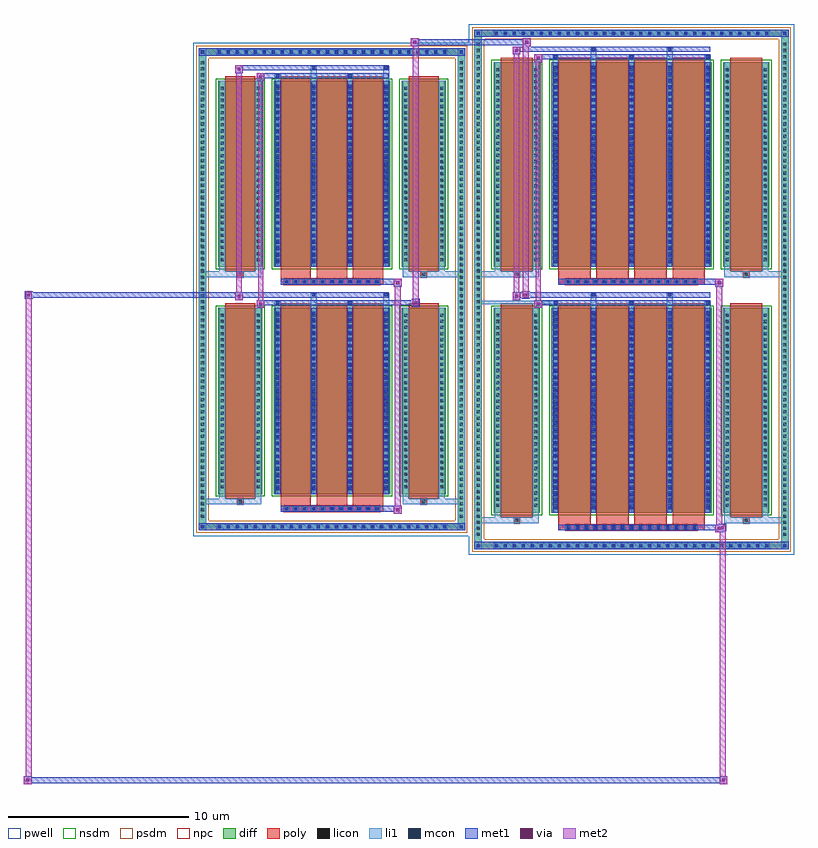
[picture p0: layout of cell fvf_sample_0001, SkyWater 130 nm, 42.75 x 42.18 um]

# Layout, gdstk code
import gdstk
lib = gdstk.Library(unit=1e-6, precision=5e-09)
def R(c, l, rs):  # rectangles x0, y0, x1, y1
    for r in rs: c.add(gdstk.rectangle(r[:2], r[2:], *l))
def A(c, l, x, y, w, h, nx, ny, dx, dy):  # array of equal rectangles
    R(c, l, [(x+i*dx, y+j*dy, x+i*dx+w, y+j*dy+h) for i in range(nx) for j in range(ny)])
def P(c, l, *ps):  # polygons
    for p in ps: c.add(gdstk.Polygon(p, *l))
pwell = (64, 44)
diff = (65, 20)
poly = (66, 20)
licon = (66, 44)
li1 = (67, 20)
mcon = (67, 44)
met1 = (68, 20)
via = (68, 44)
met2 = (69, 20)
nsdm = (93, 44)
psdm = (94, 20)
npc = (95, 20)

fvf_sample_0001 = lib.new_cell('fvf_sample_0001')
R(fvf_sample_0001, pwell, [(7.6,-14.73,25.65,14.73), (-7.7,-13.69,7.7,13.69)])
A(fvf_sample_0001, diff, 8.92, -14.42, 0.41, 0.41, 31, 2, 0.5, 28.43)
A(fvf_sample_0001, diff, 7.91, -13.805, 0.41, 0.41, 1, 81, 0, 0.34)
A(fvf_sample_0001, diff, 24.93, -13.805, 0.41, 0.41, 1, 81, 0, 0.34)
A(fvf_sample_0001, diff, -6.455, -13.38, 0.41, 0.41, 26, 2, 0.5, 26.35)
A(fvf_sample_0001, diff, -7.39, -12.785, 0.41, 0.41, 1, 75, 0, 0.34)
A(fvf_sample_0001, diff, 6.98, -12.785, 0.41, 0.41, 1, 75, 0, 0.34)
R(fvf_sample_0001, diff, [(8.92,-14.42,24.33,-14.01), (7.91,-13.805,8.32,13.805), (24.93,-13.805,25.34,13.805), (-6.455,-13.38,6.455,-12.97), (-7.39,-12.785,-6.98,12.785), (6.98,-12.785,7.39,12.785), (8.98,-12.395,11.54,-1.025), (12.18,-12.395,21.07,-1.025), (21.71,-12.395,24.27,-1.025), (-6.315,-11.355,-3.865,-1.025), (-3.225,-11.355,3.225,-1.025), (3.865,-11.355,6.315,-1.025), (-6.315,1.245,-3.865,11.575), (-3.225,1.245,3.225,11.575), (3.865,1.245,6.315,11.575), (8.98,1.245,11.54,12.615), (12.18,1.245,21.07,12.615), (21.71,1.245,24.27,12.615), (-6.455,12.97,6.455,13.38), (8.92,14.01,24.33,14.42)])
P(fvf_sample_0001, diff, [(7.39,13.38),(-7.39,13.38),(-7.39,-12.97),(-6.98,-12.97),(-6.98,12.97),(6.98,12.97),(6.98,-12.97),(-6.98,-12.97),(-7.39,-12.97),(-7.39,-13.38),(7.39,-13.38)],
  [(25.34,14.42),(7.91,14.42),(7.91,-14.01),(8.32,-14.01),(8.32,14.01),(24.93,14.01),(24.93,-14.01),(8.32,-14.01),(7.91,-14.01),(7.91,-14.42),(25.34,-14.42)])
A(fvf_sample_0001, poly, 12.96, -13.38, 0.33, 0.33, 15, 2, 0.5, 13.64)
A(fvf_sample_0001, poly, 12.57, -13.05, 1.78, 0.405, 4, 2, 2.11, 13.64)
A(fvf_sample_0001, poly, 12.57, -12.645, 1.78, 11.87, 4, 2, 2.11, 13.64)
A(fvf_sample_0001, poly, -2.665, -12.34, 0.33, 0.33, 11, 2, 0.5, 12.6)
A(fvf_sample_0001, poly, -2.835, -12.01, 1.67, 0.405, 3, 2, 2, 12.6)
A(fvf_sample_0001, poly, -2.835, -11.605, 1.67, 10.83, 3, 2, 2, 12.6)
R(fvf_sample_0001, poly, [(12.57,-13.38,20.68,-13.05), (10.095,-12.975,10.425,-12.645), (10.095,-12.975,10.425,-12.645), (22.825,-12.975,23.155,-12.645), (22.825,-12.975,23.155,-12.645), (9.37,-12.645,11.15,-0.775), (22.1,-12.645,23.88,-0.775), (-2.835,-12.34,2.835,-12.01), (-5.255,-11.935,-4.925,-11.605), (-5.255,-11.935,-4.925,-11.605), (4.925,-11.935,5.255,-11.605), (4.925,-11.935,5.255,-11.605), (-5.925,-11.605,-4.255,-0.775), (4.255,-11.605,5.925,-0.775), (-2.835,0.26,2.835,0.59), (12.57,0.26,20.68,0.59), (-5.255,0.665,-4.925,0.995), (-5.255,0.665,-4.925,0.995), (4.925,0.665,5.255,0.995), (4.925,0.665,5.255,0.995), (10.095,0.665,10.425,0.995), (10.095,0.665,10.425,0.995), (22.825,0.665,23.155,0.995), (22.825,0.665,23.155,0.995), (-5.925,0.995,-4.255,11.825), (4.255,0.995,5.925,11.825), (9.37,0.995,11.15,12.865), (22.1,0.995,23.88,12.865)])
A(fvf_sample_0001, licon, 9.04, -14.3, 0.17, 0.17, 31, 2, 0.5, 28.43)
A(fvf_sample_0001, licon, 8.03, -13.685, 0.17, 0.17, 1, 81, 0, 0.34)
A(fvf_sample_0001, licon, 25.05, -13.685, 0.17, 0.17, 1, 81, 0, 0.34)
A(fvf_sample_0001, licon, 13.04, -13.3, 0.17, 0.17, 15, 2, 0.5, 13.64)
A(fvf_sample_0001, licon, -6.335, -13.26, 0.17, 0.17, 26, 2, 0.5, 26.35)
A(fvf_sample_0001, licon, -7.27, -12.665, 0.17, 0.17, 1, 75, 0, 0.34)
A(fvf_sample_0001, licon, 7.1, -12.665, 0.17, 0.17, 1, 75, 0, 0.34)
A(fvf_sample_0001, licon, -2.585, -12.26, 0.17, 0.17, 11, 2, 0.5, 12.6)
A(fvf_sample_0001, licon, 9.12, -12.065, 0.17, 0.17, 1, 32, 0, 0.34)
A(fvf_sample_0001, licon, 11.23, -12.065, 0.17, 0.17, 1, 32, 0, 0.34)
A(fvf_sample_0001, licon, 12.32, -12.065, 0.17, 0.17, 5, 32, 2.11, 0.34)
A(fvf_sample_0001, licon, 21.85, -12.065, 0.17, 0.17, 1, 32, 0, 0.34)
A(fvf_sample_0001, licon, 23.96, -12.065, 0.17, 0.17, 1, 32, 0, 0.34)
A(fvf_sample_0001, licon, -6.175, -11.035, 0.17, 0.17, 1, 29, 0, 0.34)
A(fvf_sample_0001, licon, -4.175, -11.035, 0.17, 0.17, 1, 29, 0, 0.34)
A(fvf_sample_0001, licon, -3.085, -11.035, 0.17, 0.17, 4, 29, 2, 0.34)
A(fvf_sample_0001, licon, 4.005, -11.035, 0.17, 0.17, 1, 29, 0, 0.34)
A(fvf_sample_0001, licon, 6.005, -11.035, 0.17, 0.17, 1, 29, 0, 0.34)
A(fvf_sample_0001, licon, -6.175, 1.565, 0.17, 0.17, 1, 29, 0, 0.34)
A(fvf_sample_0001, licon, -4.175, 1.565, 0.17, 0.17, 1, 29, 0, 0.34)
A(fvf_sample_0001, licon, -3.085, 1.565, 0.17, 0.17, 4, 29, 2, 0.34)
A(fvf_sample_0001, licon, 4.005, 1.565, 0.17, 0.17, 1, 29, 0, 0.34)
A(fvf_sample_0001, licon, 6.005, 1.565, 0.17, 0.17, 1, 29, 0, 0.34)
A(fvf_sample_0001, licon, 9.12, 1.575, 0.17, 0.17, 1, 32, 0, 0.34)
A(fvf_sample_0001, licon, 11.23, 1.575, 0.17, 0.17, 1, 32, 0, 0.34)
A(fvf_sample_0001, licon, 12.32, 1.575, 0.17, 0.17, 5, 32, 2.11, 0.34)
A(fvf_sample_0001, licon, 21.85, 1.575, 0.17, 0.17, 1, 32, 0, 0.34)
A(fvf_sample_0001, licon, 23.96, 1.575, 0.17, 0.17, 1, 32, 0, 0.34)
R(fvf_sample_0001, licon, [(10.175,-12.895,10.345,-12.725), (22.905,-12.895,23.075,-12.725), (-5.175,-11.855,-5.005,-11.685), (5.005,-11.855,5.175,-11.685), (-5.175,0.745,-5.005,0.915), (5.005,0.745,5.175,0.915), (10.175,0.745,10.345,0.915), (22.905,0.745,23.075,0.915)])
A(fvf_sample_0001, li1, 8.96, -14.38, 0.33, 0.33, 31, 2, 0.5, 28.43)
A(fvf_sample_0001, li1, 7.95, -13.765, 0.33, 0.33, 1, 81, 0, 0.34)
A(fvf_sample_0001, li1, 24.97, -13.765, 0.33, 0.33, 1, 81, 0, 0.34)
A(fvf_sample_0001, li1, 12.96, -13.38, 0.33, 0.33, 15, 2, 0.5, 13.64)
A(fvf_sample_0001, li1, -6.415, -13.34, 0.33, 0.33, 26, 2, 0.5, 26.35)
A(fvf_sample_0001, li1, -7.35, -12.745, 0.33, 0.33, 1, 75, 0, 0.34)
A(fvf_sample_0001, li1, 7.02, -12.745, 0.33, 0.33, 1, 75, 0, 0.34)
A(fvf_sample_0001, li1, 12.24, -12.395, 0.33, 11.37, 5, 2, 2.11, 13.64)
A(fvf_sample_0001, li1, -2.665, -12.34, 0.33, 0.33, 11, 2, 0.5, 12.6)
A(fvf_sample_0001, li1, 12.32, -12.195, 0.17, 0.17, 5, 31, 2.11, 0.36)
A(fvf_sample_0001, li1, 12.32, -12.195, 0.17, 10.97, 5, 2, 2.11, 13.64)
A(fvf_sample_0001, li1, 9.04, -12.145, 0.33, 0.33, 1, 32, 0, 0.34)
A(fvf_sample_0001, li1, 11.15, -12.145, 0.33, 0.33, 1, 32, 0, 0.34)
A(fvf_sample_0001, li1, 12.24, -12.145, 0.33, 0.33, 5, 32, 2.11, 0.34)
A(fvf_sample_0001, li1, 21.77, -12.145, 0.33, 0.33, 1, 32, 0, 0.34)
A(fvf_sample_0001, li1, 23.88, -12.145, 0.33, 0.33, 1, 32, 0, 0.34)
A(fvf_sample_0001, li1, -3.165, -11.355, 0.33, 10.33, 4, 2, 2, 12.6)
A(fvf_sample_0001, li1, -3.085, -11.135, 0.17, 0.17, 4, 28, 2, 0.36)
A(fvf_sample_0001, li1, -3.085, -11.135, 0.17, 9.89, 4, 2, 2, 12.6)
A(fvf_sample_0001, li1, -6.255, -11.115, 0.33, 0.33, 1, 29, 0, 0.34)
A(fvf_sample_0001, li1, -4.255, -11.115, 0.33, 0.33, 1, 29, 0, 0.34)
A(fvf_sample_0001, li1, -3.165, -11.115, 0.33, 0.33, 4, 29, 2, 0.34)
A(fvf_sample_0001, li1, 3.925, -11.115, 0.33, 0.33, 1, 29, 0, 0.34)
A(fvf_sample_0001, li1, 5.925, -11.115, 0.33, 0.33, 1, 29, 0, 0.34)
A(fvf_sample_0001, li1, 12.24, -1.025, 0.33, 0.375, 3, 2, 4.22, 13.64)
A(fvf_sample_0001, li1, 12.32, -0.82, 0.17, 0.17, 3, 2, 4.22, 13.64)
A(fvf_sample_0001, li1, 12.32, 1.445, 0.17, 0.17, 5, 31, 2.11, 0.36)
A(fvf_sample_0001, li1, -3.085, 1.465, 0.17, 0.17, 4, 28, 2, 0.36)
A(fvf_sample_0001, li1, -6.255, 1.485, 0.33, 0.33, 1, 29, 0, 0.34)
A(fvf_sample_0001, li1, -4.255, 1.485, 0.33, 0.33, 1, 29, 0, 0.34)
A(fvf_sample_0001, li1, -3.165, 1.485, 0.33, 0.33, 4, 29, 2, 0.34)
A(fvf_sample_0001, li1, 3.925, 1.485, 0.33, 0.33, 1, 29, 0, 0.34)
A(fvf_sample_0001, li1, 5.925, 1.485, 0.33, 0.33, 1, 29, 0, 0.34)
A(fvf_sample_0001, li1, 9.04, 1.495, 0.33, 0.33, 1, 32, 0, 0.34)
A(fvf_sample_0001, li1, 11.15, 1.495, 0.33, 0.33, 1, 32, 0, 0.34)
A(fvf_sample_0001, li1, 12.24, 1.495, 0.33, 0.33, 5, 32, 2.11, 0.34)
A(fvf_sample_0001, li1, 21.77, 1.495, 0.33, 0.33, 1, 32, 0, 0.34)
A(fvf_sample_0001, li1, 23.88, 1.495, 0.33, 0.33, 1, 32, 0, 0.34)
R(fvf_sample_0001, li1, [(7.91,-14.42,8.32,-14.01), (24.93,-14.42,25.34,-14.01), (8.96,-14.38,24.29,-14.05), (8.03,-14.3,8.2,-14.13), (8.03,-14.3,8.2,-14.13), (25.05,-14.3,25.22,-14.13), (25.05,-14.3,25.22,-14.13), (7.91,-14.01,8.32,14.01), (24.93,-14.01,25.34,14.01), (-7.39,-13.38,-6.98,-12.97), (6.98,-13.38,7.39,-12.97), (-6.415,-13.34,6.415,-13.01), (-7.27,-13.26,-7.1,-13.09), (-7.27,-13.26,-7.1,-13.09), (7.1,-13.26,7.27,-13.09), (7.1,-13.26,7.27,-13.09), (7.91,-12.975,10.095,-12.645), (9.04,-12.975,9.37,-12.395), (9.04,-12.975,10.095,-12.645), (10.095,-12.975,10.425,-12.645), (10.425,-12.975,11.48,-12.645), (11.15,-12.975,11.48,-12.395), (21.77,-12.975,22.1,-12.395), (21.77,-12.975,22.825,-12.645), (22.825,-12.975,23.155,-12.645), (22.825,-12.975,25.34,-12.645), (23.155,-12.975,24.21,-12.645), (23.88,-12.975,24.21,-12.395), (-7.39,-12.97,-6.98,12.97), (6.98,-12.97,7.39,12.97), (9.04,-12.395,9.37,-1.025), (11.15,-12.395,11.48,-1.025), (21.77,-12.395,22.1,-1.025), (23.88,-12.395,24.21,-1.025), (-7.39,-11.935,-5.255,-11.605), (-6.255,-11.935,-5.255,-11.605), (-6.255,-11.935,-5.925,-11.355), (-5.255,-11.935,-4.925,-11.605), (-4.925,-11.935,-3.925,-11.605), (-4.255,-11.935,-3.925,-11.355), (3.925,-11.935,4.925,-11.605), (3.925,-11.935,4.255,-11.355), (4.925,-11.935,5.255,-11.605), (4.925,-11.935,7.39,-11.605), (5.255,-11.935,6.255,-11.605), (5.925,-11.935,6.255,-11.355), (-6.255,-11.355,-5.925,-1.025), (-4.255,-11.355,-3.925,-1.025), (3.925,-11.355,4.255,-1.025), (5.925,-11.355,6.255,-1.025), (-3.165,-1.025,-2.835,-0.65), (-1.165,-1.025,-0.835,-0.22), (0.835,-1.025,1.165,-0.65), (2.835,-1.025,3.165,-0.22), (14.35,-1.025,14.68,-0.22), (18.57,-1.025,18.9,-0.22), (12.26,-0.88,12.55,-0.59), (7.91,-0.835,12.26,-0.635), (-3.085,-0.82,-2.915,-0.65), (0.915,-0.82,1.085,-0.65), (12.32,-0.82,12.49,-0.65), (-1.085,-0.39,-0.915,-0.22), (2.915,-0.39,3.085,-0.22), (14.43,-0.39,14.6,-0.22), (18.65,-0.39,18.82,-0.22), (-7.39,0.665,-5.255,0.995), (-6.255,0.665,-5.255,0.995), (-6.255,0.665,-5.925,1.245), (-5.255,0.665,-4.925,0.995), (-4.925,0.665,-3.925,0.995), (-4.255,0.665,-3.925,1.245), (3.925,0.665,4.925,0.995), (3.925,0.665,4.255,1.245), (4.925,0.665,5.255,0.995), (4.925,0.665,7.39,0.995), (5.255,0.665,6.255,0.995), (5.925,0.665,6.255,1.245), (7.91,0.665,10.095,0.995), (9.04,0.665,9.37,1.245), (9.04,0.665,10.095,0.995), (10.095,0.665,10.425,0.995), (10.425,0.665,11.48,0.995), (11.15,0.665,11.48,1.245), (21.77,0.665,22.1,1.245), (21.77,0.665,22.825,0.995), (22.825,0.665,23.155,0.995), (22.825,0.665,25.34,0.995), (23.155,0.665,24.21,0.995), (23.88,0.665,24.21,1.245), (-6.255,1.245,-5.925,11.575), (-4.255,1.245,-3.925,11.575), (3.925,1.245,4.255,11.575), (5.925,1.245,6.255,11.575), (9.04,1.245,9.37,12.615), (11.15,1.245,11.48,12.615), (21.77,1.245,22.1,12.615), (23.88,1.245,24.21,12.615), (-3.165,11.575,-2.835,11.95), (-1.165,11.575,-0.835,12.38), (0.835,11.575,1.165,11.95), (2.835,11.575,3.165,12.38), (-3.085,11.78,-2.915,11.95), (0.915,11.78,1.085,11.95), (-1.085,12.21,-0.915,12.38), (2.915,12.21,3.085,12.38), (14.35,12.615,14.68,13.42), (18.57,12.615,18.9,13.42), (-7.39,12.97,-6.98,13.38), (6.98,12.97,7.39,13.38), (-6.415,13.01,6.415,13.34), (-7.27,13.09,-7.1,13.26), (-7.27,13.09,-7.1,13.26), (7.1,13.09,7.27,13.26), (7.1,13.09,7.27,13.26), (14.43,13.25,14.6,13.42), (18.65,13.25,18.82,13.42), (7.91,14.01,8.32,14.42), (24.93,14.01,25.34,14.42), (8.96,14.05,24.29,14.38), (8.03,14.13,8.2,14.3), (8.03,14.13,8.2,14.3), (25.05,14.13,25.22,14.3), (25.05,14.13,25.22,14.3)])
A(fvf_sample_0001, mcon, 9.04, -14.3, 0.17, 0.17, 31, 2, 0.5, 28.43)
A(fvf_sample_0001, mcon, 13.04, -13.3, 0.17, 0.17, 15, 2, 0.5, 13.64)
A(fvf_sample_0001, mcon, -6.335, -13.26, 0.17, 0.17, 26, 2, 0.5, 26.35)
A(fvf_sample_0001, mcon, -2.585, -12.26, 0.17, 0.17, 11, 2, 0.5, 12.6)
A(fvf_sample_0001, mcon, 12.32, -12.195, 0.17, 0.17, 5, 31, 2.11, 0.36)
A(fvf_sample_0001, mcon, -3.085, -11.135, 0.17, 0.17, 4, 28, 2, 0.36)
A(fvf_sample_0001, mcon, 12.32, -0.82, 0.17, 0.17, 3, 2, 4.22, 13.64)
A(fvf_sample_0001, mcon, 12.32, 1.445, 0.17, 0.17, 5, 31, 2.11, 0.36)
A(fvf_sample_0001, mcon, -3.085, 1.465, 0.17, 0.17, 4, 28, 2, 0.36)
R(fvf_sample_0001, mcon, [(8.03,-14.3,8.2,-14.13), (25.05,-14.3,25.22,-14.13), (-7.27,-13.26,-7.1,-13.09), (7.1,-13.26,7.27,-13.09), (-3.085,-0.82,-2.915,-0.65), (0.915,-0.82,1.085,-0.65), (12.32,-0.82,12.49,-0.65), (-1.085,-0.39,-0.915,-0.22), (2.915,-0.39,3.085,-0.22), (14.43,-0.39,14.6,-0.22), (18.65,-0.39,18.82,-0.22), (-3.085,11.78,-2.915,11.95), (0.915,11.78,1.085,11.95), (-1.085,12.21,-0.915,12.38), (2.915,12.21,3.085,12.38), (-7.27,13.09,-7.1,13.26), (7.1,13.09,7.27,13.26), (14.43,13.25,14.6,13.42), (18.65,13.25,18.82,13.42), (8.03,14.13,8.2,14.3), (25.05,14.13,25.22,14.3)])
A(fvf_sample_0001, met1, 8.98, -14.36, 0.29, 0.29, 31, 2, 0.5, 28.43)
A(fvf_sample_0001, met1, 12.98, -13.36, 0.29, 0.29, 15, 2, 0.5, 13.64)
A(fvf_sample_0001, met1, -6.395, -13.32, 0.29, 0.29, 26, 2, 0.5, 26.35)
A(fvf_sample_0001, met1, 12.26, -12.395, 0.29, 11.37, 5, 2, 2.11, 13.64)
A(fvf_sample_0001, met1, -2.645, -12.32, 0.29, 0.29, 11, 2, 0.5, 12.6)
A(fvf_sample_0001, met1, 12.26, -12.255, 0.29, 0.29, 5, 31, 2.11, 0.36)
A(fvf_sample_0001, met1, -3.145, -11.355, 0.29, 10.33, 4, 2, 2, 12.6)
A(fvf_sample_0001, met1, -3.145, -11.195, 0.29, 0.29, 4, 28, 2, 0.36)
A(fvf_sample_0001, met1, 12.26, -0.88, 0.29, 0.29, 3, 2, 4.22, 13.64)
A(fvf_sample_0001, met1, 12.26, 1.385, 0.29, 0.29, 5, 31, 2.11, 0.36)
A(fvf_sample_0001, met1, -3.145, 1.405, 0.29, 0.29, 4, 28, 2, 0.36)
R(fvf_sample_0001, met1, [(-17.1,-27.45,-16.67,-27.02), (21.515,-27.45,21.945,-27.02), (-17.1,-27.4,21.945,-27.07), (-17.1,-27.07,-16.67,-27.02), (21.515,-27.07,21.945,-27.02), (7.91,-14.42,8.32,-14.01), (7.91,-14.42,8.32,-14.01), (8.32,-14.42,24.93,-14.01), (24.93,-14.42,25.34,-14.01), (24.93,-14.42,25.34,-14.01), (7.97,-14.36,8.26,-14.07), (24.99,-14.36,25.28,-14.07), (21.28,-13.48,21.71,-13.05), (21.465,-13.43,21.895,-13), (-7.39,-13.38,-6.98,-12.97), (-7.39,-13.38,-6.98,-12.97), (-6.98,-13.38,6.98,-12.97), (6.98,-13.38,7.39,-12.97), (6.98,-13.38,7.39,-12.97), (12.57,-13.38,20.68,-13.05), (20.68,-13.38,21.71,-13.05), (20.68,-13.38,21.465,-13.05), (-7.33,-13.32,-7.04,-13.03), (7.04,-13.32,7.33,-13.03), (3.435,-12.44,3.865,-12.01), (-2.835,-12.34,2.835,-12.01), (2.835,-12.34,3.865,-12.01), (-4.175,-1.02,-3.745,-0.59), (11.23,-1.02,11.66,-0.59), (4.43,-0.95,4.86,-0.52), (-4.175,-0.88,-3.145,-0.59), (-3.145,-0.88,-2.855,-0.59), (-3.145,-0.88,3.145,-0.59), (0.855,-0.88,1.145,-0.59), (3.145,-0.88,4.43,-0.59), (11.23,-0.88,12.26,-0.59), (12.26,-0.88,12.55,-0.59), (12.26,-0.88,20.99,-0.59), (-5.375,-0.59,-4.945,-0.16), (10.03,-0.59,10.46,-0.16), (-17.05,-0.52,-16.62,-0.09), (10.545,-0.52,10.975,-0.09), (-16.62,-0.45,-3.145,-0.16), (-5.375,-0.45,-3.145,-0.16), (-3.145,-0.45,3.145,-0.16), (-1.145,-0.45,-0.855,-0.16), (2.855,-0.45,3.145,-0.16), (10.03,-0.45,12.26,-0.16), (10.975,-0.45,12.26,-0.16), (12.26,-0.45,20.99,-0.16), (14.37,-0.45,14.66,-0.16), (18.59,-0.45,18.88,-0.16), (3.435,0.16,3.865,0.59), (21.28,0.16,21.71,0.59), (-2.835,0.26,2.835,0.59), (2.835,0.26,3.865,0.59), (12.57,0.26,20.68,0.59), (20.68,0.26,21.71,0.59), (-4.175,11.58,-3.745,12.01), (-4.175,11.72,-3.145,12.01), (-3.145,11.72,-2.855,12.01), (-3.145,11.72,3.145,12.01), (0.855,11.72,1.145,12.01), (-5.375,12.01,-4.945,12.44), (-5.375,12.15,-3.145,12.44), (-3.145,12.15,3.145,12.44), (-1.145,12.15,-0.855,12.44), (2.855,12.15,3.145,12.44), (11.23,12.62,11.66,13.05), (11.23,12.76,12.26,13.05), (12.26,12.76,20.99,13.05), (-7.39,12.97,-6.98,13.38), (-7.39,12.97,-6.98,13.38), (-6.98,12.97,6.98,13.38), (6.98,12.97,7.39,13.38), (6.98,12.97,7.39,13.38), (-7.33,13.03,-7.04,13.32), (7.04,13.03,7.33,13.32), (10.03,13.05,10.46,13.48), (10.03,13.19,12.26,13.48), (12.26,13.19,20.99,13.48), (14.37,13.19,14.66,13.48), (18.59,13.19,18.88,13.48), (4.38,13.5,4.81,13.93), (10.595,13.5,11.025,13.93), (4.38,13.55,11.025,13.88), (4.38,13.88,4.81,13.93), (10.595,13.88,11.025,13.93), (7.91,14.01,8.32,14.42), (7.91,14.01,8.32,14.42), (8.32,14.01,24.93,14.42), (24.93,14.01,25.34,14.42), (24.93,14.01,25.34,14.42), (7.97,14.07,8.26,14.36), (24.99,14.07,25.28,14.36)])
R(fvf_sample_0001, via, [(-16.96,-27.31,-16.81,-27.16), (21.655,-27.31,21.805,-27.16), (21.42,-13.34,21.57,-13.19), (21.605,-13.29,21.755,-13.14), (3.575,-12.3,3.725,-12.15), (-4.035,-0.88,-3.885,-0.73), (11.37,-0.88,11.52,-0.73), (4.57,-0.81,4.72,-0.66), (-5.235,-0.45,-5.085,-0.3), (10.17,-0.45,10.32,-0.3), (-16.91,-0.38,-16.76,-0.23), (10.685,-0.38,10.835,-0.23), (3.575,0.3,3.725,0.45), (21.42,0.3,21.57,0.45), (-4.035,11.72,-3.885,11.87), (-5.235,12.15,-5.085,12.3), (11.37,12.76,11.52,12.91), (10.17,13.19,10.32,13.34), (4.52,13.64,4.67,13.79), (10.735,13.64,10.885,13.79)])
R(fvf_sample_0001, met2, [(-17.1,-27.45,-16.67,-27.02), (-17,-27.45,-16.67,-0.47), (21.515,-27.45,21.945,-27.02), (21.515,-27.45,21.845,-13.38), (-17.05,-27.4,-16.72,-27.07), (21.565,-27.4,21.895,-27.07), (21.28,-13.48,21.71,-13.05), (21.33,-13.48,21.66,0.59), (21.66,-13.48,21.71,-13.05), (21.33,-13.43,21.66,-13.1), (21.515,-13.38,21.845,-13.05), (3.435,-12.44,3.865,-12.01), (3.485,-12.44,3.815,0.59), (3.815,-12.44,3.865,-12.01), (3.485,-12.39,3.815,-12.06), (-4.175,-1.02,-3.745,-0.59), (-4.105,-1.02,-3.815,12.01), (-3.815,-1.02,-3.745,-0.59), (11.23,-1.02,11.66,-0.59), (11.3,-1.02,11.59,13.05), (11.59,-1.02,11.66,-0.59), (-4.125,-0.97,-3.795,-0.64), (11.28,-0.97,11.61,-0.64), (4.48,-0.9,4.81,-0.57), (-5.375,-0.59,-4.945,-0.16), (-5.305,-0.59,-5.015,12.44), (-5.015,-0.59,-4.945,-0.16), (10.03,-0.59,10.46,-0.16), (10.1,-0.59,10.39,13.48), (10.39,-0.59,10.46,-0.16), (4.48,-0.57,4.81,13.93), (-5.325,-0.54,-4.995,-0.21), (10.08,-0.54,10.41,-0.21), (-17,-0.47,-16.67,-0.14), (10.595,-0.47,10.925,-0.14), (10.595,-0.14,10.925,13.93), (3.435,0.16,3.865,0.59), (3.815,0.16,3.865,0.59), (21.28,0.16,21.71,0.59), (21.66,0.16,21.71,0.59), (3.485,0.21,3.815,0.54), (21.33,0.21,21.66,0.54), (-4.175,11.58,-3.745,12.01), (-3.815,11.58,-3.745,12.01), (-4.125,11.63,-3.795,11.96), (-5.375,12.01,-4.945,12.44), (-5.015,12.01,-4.945,12.44), (-5.325,12.06,-4.995,12.39), (11.23,12.62,11.66,13.05), (11.59,12.62,11.66,13.05), (11.28,12.67,11.61,13), (10.03,13.05,10.46,13.48), (10.39,13.05,10.46,13.48), (10.08,13.1,10.41,13.43), (4.38,13.5,4.81,13.93), (10.595,13.5,11.025,13.93), (4.43,13.55,4.76,13.88), (10.645,13.55,10.975,13.88)])
R(fvf_sample_0001, nsdm, [(8.85,-12.525,11.67,-0.895), (12.05,-12.525,21.2,-0.895), (21.58,-12.525,24.4,-0.895), (-6.445,-11.485,-3.735,-0.895), (-3.355,-11.485,3.355,-0.895), (3.735,-11.485,6.445,-0.895), (-6.445,1.115,-3.735,11.705), (-3.355,1.115,3.355,11.705), (3.735,1.115,6.445,11.705), (8.85,1.115,11.67,12.745), (12.05,1.115,21.2,12.745), (21.58,1.115,24.4,12.745)])
P(fvf_sample_0001, psdm, [(7.52,13.51),(-7.52,13.51),(-7.52,-12.84),(-6.85,-12.84),(-6.85,12.84),(6.85,12.84),(6.85,-12.84),(-6.85,-12.84),(-7.52,-12.84),(-7.52,-13.51),(7.52,-13.51)],
  [(25.47,14.55),(7.78,14.55),(7.78,-13.88),(8.45,-13.88),(8.45,13.88),(24.8,13.88),(24.8,-13.88),(8.45,-13.88),(7.78,-13.88),(7.78,-14.55),(25.47,-14.55)])
A(fvf_sample_0001, npc, 12.94, -13.4, 0.37, 0.37, 15, 2, 0.5, 13.64)
A(fvf_sample_0001, npc, -2.685, -12.36, 0.37, 0.37, 11, 2, 0.5, 12.6)
R(fvf_sample_0001, npc, [(12.94,-13.4,13.81,-13.03), (12.94,-13.4,13.81,-13.03), (13.44,-13.4,14.31,-13.03), (13.44,-13.4,14.31,-13.03), (13.94,-13.4,14.81,-13.03), (13.94,-13.4,14.81,-13.03), (14.44,-13.4,15.31,-13.03), (14.44,-13.4,15.31,-13.03), (14.94,-13.4,15.81,-13.03), (14.94,-13.4,15.81,-13.03), (15.44,-13.4,16.31,-13.03), (15.44,-13.4,16.31,-13.03), (15.94,-13.4,16.81,-13.03), (15.94,-13.4,16.81,-13.03), (16.44,-13.4,17.31,-13.03), (16.44,-13.4,17.31,-13.03), (16.94,-13.4,17.81,-13.03), (16.94,-13.4,17.81,-13.03), (17.44,-13.4,18.31,-13.03), (17.44,-13.4,18.31,-13.03), (17.94,-13.4,18.81,-13.03), (17.94,-13.4,18.81,-13.03), (18.44,-13.4,19.31,-13.03), (18.44,-13.4,19.31,-13.03), (18.94,-13.4,19.81,-13.03), (18.94,-13.4,19.81,-13.03), (19.44,-13.4,20.31,-13.03), (19.44,-13.4,20.31,-13.03), (10.075,-12.995,10.445,-12.625), (22.805,-12.995,23.175,-12.625), (-2.685,-12.36,-1.815,-11.99), (-2.685,-12.36,-1.815,-11.99), (-2.185,-12.36,-1.315,-11.99), (-2.185,-12.36,-1.315,-11.99), (-1.685,-12.36,-0.815,-11.99), (-1.685,-12.36,-0.815,-11.99), (-1.185,-12.36,-0.315,-11.99), (-1.185,-12.36,-0.315,-11.99), (-0.685,-12.36,0.185,-11.99), (-0.685,-12.36,0.185,-11.99), (-0.185,-12.36,0.685,-11.99), (-0.185,-12.36,0.685,-11.99), (0.315,-12.36,1.185,-11.99), (0.315,-12.36,1.185,-11.99), (0.815,-12.36,1.685,-11.99), (0.815,-12.36,1.685,-11.99), (1.315,-12.36,2.185,-11.99), (1.315,-12.36,2.185,-11.99), (1.815,-12.36,2.685,-11.99), (1.815,-12.36,2.685,-11.99), (-5.275,-11.955,-4.905,-11.585), (4.905,-11.955,5.275,-11.585), (-2.685,0.24,-1.815,0.61), (-2.685,0.24,-1.815,0.61), (-2.185,0.24,-1.315,0.61), (-2.185,0.24,-1.315,0.61), (-1.685,0.24,-0.815,0.61), (-1.685,0.24,-0.815,0.61), (-1.185,0.24,-0.315,0.61), (-1.185,0.24,-0.315,0.61), (-0.685,0.24,0.185,0.61), (-0.685,0.24,0.185,0.61), (-0.185,0.24,0.685,0.61), (-0.185,0.24,0.685,0.61), (0.315,0.24,1.185,0.61), (0.315,0.24,1.185,0.61), (0.815,0.24,1.685,0.61), (0.815,0.24,1.685,0.61), (1.315,0.24,2.185,0.61), (1.315,0.24,2.185,0.61), (1.815,0.24,2.685,0.61), (1.815,0.24,2.685,0.61), (12.94,0.24,13.81,0.61), (12.94,0.24,13.81,0.61), (13.44,0.24,14.31,0.61), (13.44,0.24,14.31,0.61), (13.94,0.24,14.81,0.61), (13.94,0.24,14.81,0.61), (14.44,0.24,15.31,0.61), (14.44,0.24,15.31,0.61), (14.94,0.24,15.81,0.61), (14.94,0.24,15.81,0.61), (15.44,0.24,16.31,0.61), (15.44,0.24,16.31,0.61), (15.94,0.24,16.81,0.61), (15.94,0.24,16.81,0.61), (16.44,0.24,17.31,0.61), (16.44,0.24,17.31,0.61), (16.94,0.24,17.81,0.61), (16.94,0.24,17.81,0.61), (17.44,0.24,18.31,0.61), (17.44,0.24,18.31,0.61), (17.94,0.24,18.81,0.61), (17.94,0.24,18.81,0.61), (18.44,0.24,19.31,0.61), (18.44,0.24,19.31,0.61), (18.94,0.24,19.81,0.61), (18.94,0.24,19.81,0.61), (19.44,0.24,20.31,0.61), (19.44,0.24,20.31,0.61), (-5.275,0.645,-4.905,1.015), (4.905,0.645,5.275,1.015), (10.075,0.645,10.445,1.015), (22.805,0.645,23.175,1.015)])

lib.write_gds('fvf_sample_0001.gds')
